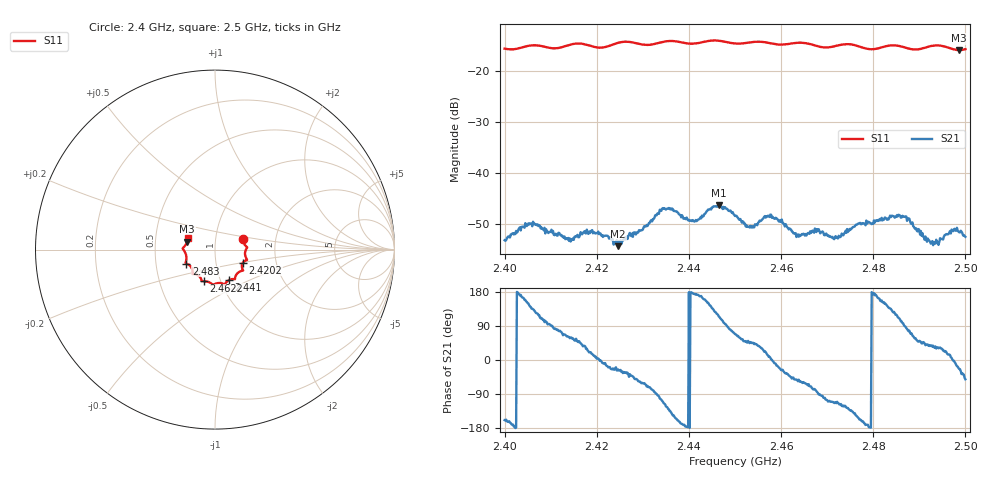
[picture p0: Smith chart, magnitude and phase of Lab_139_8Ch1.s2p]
# Hz S RI R 50
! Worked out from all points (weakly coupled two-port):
!   601 points, 2.4 GHz to 2.5 GHz, reference 50 ohm
!   highest |S21| = -46.28 dB at 2.4465 GHz (marker M1); lowest = -54.3 dB at 2.4247 GHz (marker M2)
!   lowest |S11| = -15.8 dB at 2.4987 GHz (marker M3), VSWR 1.39, Z = 36.4 + j3.32 ohm
!   |S11| at or under -10 dB: start of sweep to end of sweep
!   S12 and S22 are empty: the file has one direction only
!   S11 on the Smith chart (normalised r, x): 2.4 GHz: 1.36, +0.17; 2.4202 GHz: 1.35, -0.20; 2.441 GHz: 1.09, -0.39; 2.4622 GHz: 0.83, -0.30; 2.483 GHz: 0.72, -0.12; 2.5 GHz: 0.73, +0.09
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2.4e9  0.156 0.06  -0.00206 -0.000804  0 0  0 0
2.406e9  0.1795 0.0135  -0.00215 0.00214  0 0  0 0
2.414167e9  0.1754 -0.0508  0.00123 0.00194  0 0  0 0
2.416667e9  0.1777 -0.0582  0.00192 0.00172  0 0  0 0
2.420167e9  0.1556 -0.072  0.00257 0.000191  0 0  0 0
2.424667e9  0.155 -0.1112  0.00175 -0.000819  0 0  0 0
2.433333e9  0.1128 -0.1525  -0.000286 -0.00407  0 0  0 0
2.436e9  0.1108 -0.165  -0.00324 -0.00317  0 0  0 0
2.441e9  0.0766 -0.1706  -0.00341 0.000331  0 0  0 0
2.4465e9  0.0505 -0.1935  -0.00203 0.00441  0 0  0 0
2.45e9  0.0263 -0.186  0.0014 0.00355  0 0  0 0
2.453333e9  -0.00253 -0.1928  0.00207 0.00224  0 0  0 0
2.457667e9  -0.0223 -0.1876  0.00392 0.000419  0 0  0 0
2.462167e9  -0.0636 -0.1764  0.00197 -0.00201  0 0  0 0
2.466667e9  -0.0765 -0.1667  0.000752 -0.0026  0 0  0 0
2.471833e9  -0.1137 -0.1364  -0.000881 -0.00226  0 0  0 0
2.483e9  -0.1594 -0.0781  -0.0028 0.00212  0 0  0 0
2.483333e9  -0.161 -0.0775  -0.00264 0.00235  0 0  0 0
2.487333e9  -0.1598 -0.0558  0.000467 0.00339  0 0  0 0
2.493e9  -0.1789 0.00318  0.00157 0.00121  0 0  0 0
2.498667e9  -0.1555 0.0444  0.00242 -0.00107  0 0  0 0
2.5e9  -0.1527 0.063  0.00151 -0.00185  0 0  0 0
